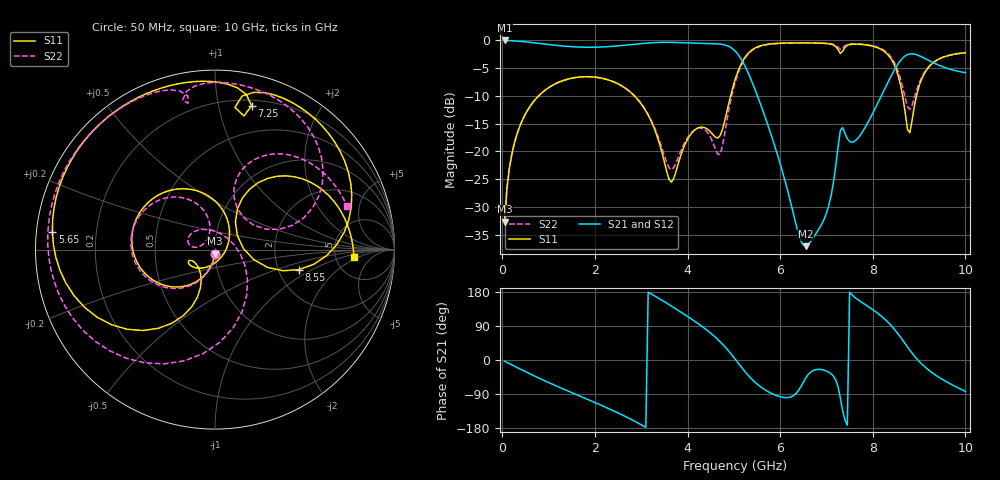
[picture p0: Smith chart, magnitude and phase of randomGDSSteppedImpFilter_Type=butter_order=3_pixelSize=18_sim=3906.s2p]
! freq	dB(S11)	phase(S11)	dB(S12)	phase(S12)
!  dB(S21)	phase(S21)	dB(S22)	phase(S22)
!S-par simulation data
#  GHz  S  DB  R 50
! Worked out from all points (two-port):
!   200 points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, 50 MHz to 10 GHz, reference 50 ohm
!   highest |S21| = -0.01 dB at 50 MHz (marker M1); lowest = -37.1 dB at 6.55 GHz (marker M2)
!   |S21| within 3 dB of the highest: start of sweep to 5.13 GHz; 8.67 GHz to 9.068 GHz (398.3 MHz wide, 4.49 % of centre)
!   lowest |S11| = -32.6 dB at 50 MHz (marker M3), VSWR 1.05, Z = 49.8 - j2.32 ohm
!   |S11| at or under -10 dB: start of sweep to 784.3 MHz; 2.852 GHz to 4.93 GHz (2.078 GHz wide, 53.4 % of centre); 8.645 GHz to 8.944 GHz (298.8 MHz wide, 3.4 % of centre)
!   |S22| runs from -32.6 to -0.4 dB; largest |S21 - S12| = 0
!   S11 on the Smith chart (normalised r, x): 50 MHz: 1.00, -0.05; 5.65 GHz: 0.05, +0.05; 7.25 GHz: 0.25, +1.26; 8.55 GHz: 2.60, -0.75; 10 GHz: 7.59, -1.47
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0.05  -32.64 -93.2  -0.01 -3.2  -0.01 -3.2  -32.64 -93.1
0.2  -20.75 -103.1  -0.06 -12.5  -0.06 -12.5  -20.75 -102.6
0.5  -13.25 -122.0  -0.25 -30.8  -0.25 -30.8  -13.25 -120.6
1.75  -6.55 167.5  -1.22 -99.1  -1.22 -99.1  -6.54 173.4
2.6  -8.30 118.1  -0.90 -145.6  -0.90 -145.6  -8.28 131.0
3.4  -18.75 45.5  -0.35 161.2  -0.35 161.2  -18.20 102.9
3.65  -25.54 -36.7  -0.34 142.5  -0.34 142.5  -23.29 141.2
4.35  -15.66 -154.4  -0.56 85.2  -0.56 85.2  -15.96 146.0
4.7  -17.21 -130.9  -0.65 48.8  -0.65 48.8  -20.55 43.1
5.05  -6.49 -120.2  -2.11 -1.3  -2.11 -1.3  -6.97 -77.1
5.3  -2.42 -150.2  -5.67 -39.2  -5.67 -39.2  -2.59 -121.8
5.65  -0.81 173.8  -13.21 -76.9  -13.21 -76.9  -0.87 -164.3
6.55  -0.45 116.3  -37.06 -48.0  -37.06 -48.0  -0.45 136.6
6.7  -0.46 108.3  -35.73 -28.6  -35.73 -28.6  -0.45 129.0
7.25  -1.65 75.7  -19.18 -70.4  -19.18 -70.4  -1.22 100.0
7.75  -0.72 55.6  -16.82 153.2  -16.82 153.2  -0.66 79.1
8.35  -2.80 7.5  -7.17 97.1  -7.17 97.1  -2.54 36.2
8.55  -6.37 -13.4  -4.17 68.3  -4.17 68.3  -5.63 19.6
8.8  -16.63 32.6  -2.44 26.0  -2.44 26.0  -12.41 48.0
8.95  -9.75 62.0  -2.59 3.2  -2.59 3.2  -8.91 72.8
9.35  -3.75 35.4  -4.18 -39.4  -4.18 -39.4  -3.72 54.9
10  -2.22 -2.9  -5.82 -82.8  -5.82 -82.8  -2.22 18.5
